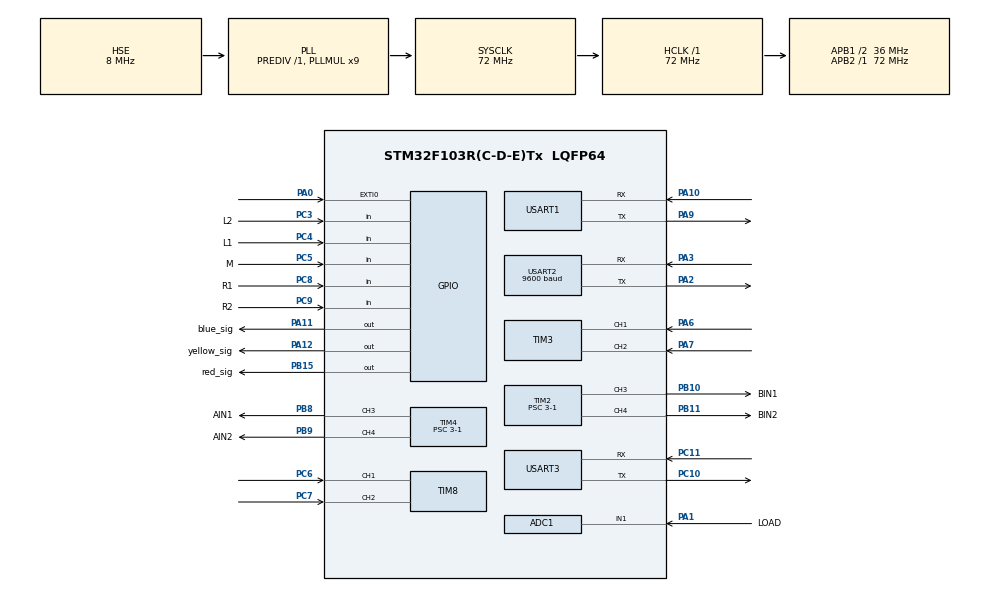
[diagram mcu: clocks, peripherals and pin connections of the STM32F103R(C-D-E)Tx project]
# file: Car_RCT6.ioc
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ADC1.Channel-1\#ChannelRegularConversion=ADC_CHANNEL_1
ADC1.NbrOfConversionFlag=1
ADC1.Rank-1\#ChannelRegularConversion=1
ADC1.SamplingTime-1\#ChannelRegularConversion=ADC_SAMPLETIME_1CYCLE_5
ADC1.master=1
Mcu.Family=STM32F1
Mcu.Name=STM32F103R(C-D-E)Tx
Mcu.Package=LQFP64
NVIC.EXTI0_IRQn=true\:3\:3\:true\:false\:true\:true\:true\:true
NVIC.PriorityGroup=NVIC_PRIORITYGROUP_2
NVIC.TIM6_IRQn=true\:3\:0\:true\:false\:true\:true\:true\:true
NVIC.TIM7_IRQn=true\:1\:0\:true\:false\:true\:true\:true\:true
NVIC.USART1_IRQn=true\:3\:1\:true\:false\:true\:true\:true\:true
NVIC.USART2_IRQn=true\:3\:2\:true\:false\:true\:true\:true\:true
NVIC.USART3_IRQn=true\:2\:0\:true\:false\:true\:true\:true\:true
PA0-WKUP.GPIO_ModeDefaultEXTI=GPIO_MODE_IT_FALLING
PA0-WKUP.GPIO_PuPd=GPIO_PULLUP
PA0-WKUP.Signal=GPXTI0
PA1.GPIO_Label=LOAD
PA1.Signal=ADCx_IN1
PA10.Mode=Asynchronous
PA10.Signal=USART1_RX
PA11.GPIO_Label=blue_sig
PA11.GPIO_ModeDefaultOutputPP=GPIO_MODE_OUTPUT_PP
PA11.GPIO_PuPd=GPIO_PULLDOWN
PA11.GPIO_Speed=GPIO_SPEED_FREQ_MEDIUM
PA11.Signal=GPIO_Output
PA12.GPIO_Label=yellow_sig
PA12.GPIO_ModeDefaultOutputPP=GPIO_MODE_OUTPUT_PP
PA12.GPIO_PuPd=GPIO_PULLDOWN
PA12.GPIO_Speed=GPIO_SPEED_FREQ_MEDIUM
PA12.Signal=GPIO_Output
PA13.Mode=Serial_Wire
PA13.Signal=SYS_JTMS-SWDIO
PA14.Mode=Serial_Wire
PA14.Signal=SYS_JTCK-SWCLK
PA2.Mode=Asynchronous
PA2.Signal=USART2_TX
PA3.Mode=Asynchronous
PA3.Signal=USART2_RX
PA6.GPIO_PuPd=GPIO_NOPULL
PA6.Signal=S_TIM3_CH1
PA7.GPIO_PuPd=GPIO_NOPULL
PA7.Signal=S_TIM3_CH2
PA9.Mode=Asynchronous
PA9.Signal=USART1_TX
PB10.GPIO_Label=BIN1
PB10.Signal=S_TIM2_CH3
PB11.GPIO_Label=BIN2
PB11.Signal=S_TIM2_CH4
PB15.GPIO_Label=red_sig
PB15.GPIO_ModeDefaultOutputPP=GPIO_MODE_OUTPUT_PP
PB15.GPIO_PuPd=GPIO_PULLDOWN
PB15.GPIO_Speed=GPIO_SPEED_FREQ_MEDIUM
PB15.Signal=GPIO_Output
PB8.GPIO_Label=AIN1
PB8.Signal=S_TIM4_CH3
PB9.GPIO_Label=AIN2
PB9.Signal=S_TIM4_CH4
PC10.Mode=Asynchronous
PC10.Signal=USART3_TX
PC11.Mode=Asynchronous
PC11.Signal=USART3_RX
PC3.GPIO_Label=L2
PC3.GPIO_PuPd=GPIO_NOPULL
PC3.Signal=GPIO_Input
PC4.GPIO_Label=L1
PC4.GPIO_PuPd=GPIO_NOPULL
PC4.Signal=GPIO_Input
PC5.GPIO_Label=M
PC5.GPIO_PuPd=GPIO_NOPULL
PC5.Signal=GPIO_Input
PC6.GPIO_PuPd=GPIO_NOPULL
PC6.Signal=S_TIM8_CH1
PC7.GPIO_PuPd=GPIO_NOPULL
PC7.Signal=S_TIM8_CH2
PC8.GPIO_Label=R1
PC8.GPIO_PuPd=GPIO_NOPULL
PC8.Signal=GPIO_Input
PC9.GPIO_Label=R2
PC9.GPIO_PuPd=GPIO_NOPULL
PC9.Signal=GPIO_Input
PD0-OSC_IN.Mode=HSE-External-Oscillator
PD0-OSC_IN.Signal=RCC_OSC_IN
PD1-OSC_OUT.Mode=HSE-External-Oscillator
PD1-OSC_OUT.Signal=RCC_OSC_OUT
ProjectManager.HeapSize=0x200
ProjectManager.StackSize=0x400
ProjectManager.TargetToolchain=MDK-ARM V5
RCC.ADCPresc=RCC_ADCPCLK2_DIV6
RCC.AHBFreq_Value=72000000
RCC.APB1CLKDivider=RCC_HCLK_DIV2
RCC.APB1Freq_Value=36000000
RCC.APB1TimFreq_Value=72000000
RCC.APB2Freq_Value=72000000
RCC.APB2TimFreq_Value=72000000
RCC.HCLKFreq_Value=72000000
RCC.PLLMUL=RCC_PLL_MUL9
RCC.PLLSourceVirtual=RCC_PLLSOURCE_HSE
RCC.SYSCLKFreq_VALUE=72000000
RCC.SYSCLKSource=RCC_SYSCLKSOURCE_PLLCLK
RCC.USBFreq_Value=72000000
SH.ADCx_IN1.0=ADC1_IN1,IN1
SH.S_TIM2_CH3.0=TIM2_CH3,PWM Generation3 CH3
SH.S_TIM2_CH4.0=TIM2_CH4,PWM Generation4 CH4
SH.S_TIM3_CH1.0=TIM3_CH1,Encoder_Interface
SH.S_TIM3_CH2.0=TIM3_CH2,Encoder_Interface
SH.S_TIM4_CH3.0=TIM4_CH3,PWM Generation3 CH3
SH.S_TIM4_CH4.0=TIM4_CH4,PWM Generation4 CH4
SH.S_TIM8_CH1.0=TIM8_CH1,Encoder_Interface
SH.S_TIM8_CH2.0=TIM8_CH2,Encoder_Interface
TIM2.AutoReloadPreload=TIM_AUTORELOAD_PRELOAD_ENABLE
TIM2.Channel-PWM\ Generation3\ CH3=TIM_CHANNEL_3
TIM2.Channel-PWM\ Generation4\ CH4=TIM_CHANNEL_4
TIM2.Period=1000-1
TIM2.Prescaler=3-1
TIM3.EncoderMode=TIM_ENCODERMODE_TI12
TIM3.IC1Filter=4
TIM3.IC1Polarity=TIM_ICPOLARITY_RISING
TIM3.IC1Prescaler=TIM_ICPSC_DIV1
TIM3.IC2Filter=4
TIM3.IC2Polarity=TIM_ICPOLARITY_RISING
TIM3.IC2Prescaler=TIM_ICPSC_DIV1
TIM4.AutoReloadPreload=TIM_AUTORELOAD_PRELOAD_ENABLE
TIM4.Channel-PWM\ Generation3\ CH3=TIM_CHANNEL_3
TIM4.Channel-PWM\ Generation4\ CH4=TIM_CHANNEL_4
TIM4.Period=1000-1
TIM4.Prescaler=3-1
TIM6.Period=5000-1
TIM6.Prescaler=7200-1
TIM7.Period=200-1
TIM7.Prescaler=7200-1
TIM8.EncoderMode=TIM_ENCODERMODE_TI12
TIM8.IC1Filter=4
TIM8.IC1Prescaler=TIM_ICPSC_DIV1
TIM8.IC2Filter=4
TIM8.IC2Prescaler=TIM_ICPSC_DIV1
USART1.VirtualMode=VM_ASYNC
USART2.BaudRate=9600
USART2.VirtualMode=VM_ASYNC
USART3.VirtualMode=VM_ASYNC
VP_TIM6_VS_ClockSourceINT.Mode=Enable_Timer
VP_TIM7_VS_ClockSourceINT.Mode=Enable_Timer
board=custom

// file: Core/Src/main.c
/* USER CODE BEGIN Header */
/**
  ******************************************************************************
  * @file           : main.c
  * @brief          : Main program body
  ******************************************************************************
  * @attention
  *
  * <h2><center>&copy; Copyright (c) 2021 STMicroelectronics.
  * All rights reserved.</center></h2>
  *
  * This software component is licensed by ST under BSD 3-Clause license,
  * the "License"; You may not use this file except in compliance with the
  * License. You may obtain a copy of the License at:
  *                        opensource.org/licenses/BSD-3-Clause
  *
  ******************************************************************************
  */
/* USER CODE END Header */
#include "main.h"
#include "adc.h"
#include "tim.h"
#include "usart.h"
#include "gpio.h"

/* USER CODE BEGIN Includes */
#include "oled.h"
#include "bsp_key.h"
#include "bsp_sys.h"
#include "bsp_delay.h"
#include "control.h"
#include "bsp_led.h"
#include "menu.h"
#include "Fire_protocol.h"

#include "bsp_pid.h"
#include "openmv.h"
#include "bsp_GraySensor.h"

#include "bsp_BlueTooth.h"

/* USER CODE END Includes */

/* USER CODE BEGIN PV */

u8 Do_count = 0, Do2_count = 0;

u16 showOLEDTime = 0;
u16 SendTime = 0;

extern unsigned char BMP3[];
extern unsigned char BMP4[];

/* USER CODE END PV */

void SystemClock_Config(void);

int main(void)
{
  /* USER CODE BEGIN 1 */
	/*视频教程链接 https://www.bilibili.com/video/BV1UL411V7XK?p=2&share_source=copy_web   昵称：海喂喂喂*/

  /* USER CODE END 1 */

  /* MCU Configuration--------------------------------------------------------*/

  /* Reset of all peripherals, Initializes the Flash interface and the Systick. */
  HAL_Init();

  /* USER CODE BEGIN Init */
	LED_Init();
	KEY_GPIO_Init();

  /* USER CODE END Init */

  /* Configure the system clock */
  SystemClock_Config();

  /* USER CODE BEGIN SysInit */
	delay_init(72);

  /* USER CODE END SysInit */

  /* Initialize all configured peripherals */
  MX_GPIO_Init();
  MX_ADC1_Init();
  MX_TIM3_Init();
  MX_TIM4_Init();
  MX_TIM6_Init();
  MX_USART2_UART_Init();
  MX_USART3_UART_Init();
  MX_TIM7_Init();
  MX_TIM8_Init();
  MX_TIM2_Init();
  MX_USART1_UART_Init();
  /* USER CODE BEGIN 2 */

	HAL_TIM_Encoder_Start(&htim3, TIM_CHANNEL_ALL);   //开启TIM3的编码器接口模式
  HAL_TIM_Encoder_Start(&htim8, TIM_CHANNEL_ALL);   //开启TIM8的编码器接口模式

	HAL_TIM_PWM_Start(&htim2,TIM_CHANNEL_3);       //Motor 2
	HAL_TIM_PWM_Start(&htim2,TIM_CHANNEL_4);

	HAL_TIM_PWM_Start(&htim4,TIM_CHANNEL_3);     //Motor1
	HAL_TIM_PWM_Start(&htim4,TIM_CHANNEL_4);

	delay_ms(100);    //延时一下，让OLED正常输出
	OLED_Init();
	delay_ms(100);    //延时一下，让OLED正常输出

  OLED_Clear(); //因为是直接进来的，所以清除一下比较好

	PID_param_init();

  set_motor2_enable();    //上位机调试pid时才需要手动使能电机的PWM输出
	set_motor_enable();

	 HAL_TIM_Base_Start_IT(&htim7);
	 HAL_TIM_Base_Start_IT(&htim6);

	 HAL_UART_Receive_IT(&huart3,&uart3_rxbuff,1);  //openmv通信串口

	 HAL_UART_Receive_IT(&huart2,&uart2_rxbuff,1);  //蓝牙通信串口

	 __HAL_UART_ENABLE_IT(&huart1,UART_IT_RXNE);    //串口1接收中断，只开启接收中断，与上位机通信

		protocol_init();       //这个初始化了才能通过上位机控制呀, 再看这个注意事项

	 __HAL_GPIO_EXTI_CLEAR_IT(GPIO_PIN_0);

  /* USER CODE END 2 */

  /* Infinite loop */
  /* USER CODE BEGIN WHILE */
  while (1)
  {
		receiving_process();   //解析野火上位机通信协议,调试电机位置速度串级PID时用

		if(SendTime >= 21)
		{
			SendTime = 0;

			SendDataToOpenmv();   //不能太快，否则会超过openmv的接收数据缓冲区

		}

		if(showOLEDTime >= 200)
		{
			showOLEDTime = 0;
			OLED_Display(Menu_Item);

//			if(OneLoadFlag == 1)
//			{
//				BlueSignal_Toggle;
//			}
			//printf("123");

			/****判断是否有放药品******/
			LoadOrNot();
		}

	  /**************等待识别病房号**************/
		if(TASK == 1)
		{
			SetTargetRoom();

		}

		else if(TASK == 2)
	  {
			 //加上发送给openmv 的数据
				if(Load_flag == 1)    //运送药物
				{
						//近端病房，靠openmv规划	， 用来测试二车性能
						if(TargetRoom == 'A')
						{
							switch(Do_count)
							{
								case 0:
									 Do_count++;
									 Car_go(60-5+15+HeadToWheelCM);   //此时 Stop_Flag ==0  完成后自动置1        //近端病房不预留openmv识别的位置

								break;

								case 1:
									 if(Stop_Flag ==1)          //直行、转弯函数交替使用时，可以不手动将标志位清零
									 {
										 Do_count++;
										 spin_Turn(left_90);   //此时Spin_succeed_flag== 0 ,完成后自动置1
									 }
								break;

								case 2:
									 if(Spin_succeed_flag == 1)
									 {
										 Do_count++;
										 Car_go(40-5+15-HeadToWheelCM +3);      //Stop_Flag再次置1   +3是为了进停车区
									 }
								break;

								case	3:
									if(Stop_Flag ==1)
									{
										RedSignal_on;

											//点亮红色指示灯

									}
								break;
							}
						}

						else if(TargetRoom == 'B')
						{
							switch(Do_count)
							{
								case 0:
									 Do_count++;

										Car_go(60-5+15+HeadToWheelCM);  //此时 Stop_Flag ==0  完成后自动置1        //近端病房不预留openmv识别的位置

								break;

								case 1:
									 if(Stop_Flag ==1)
									 {
										 Do_count++;
										 spin_Turn(right_90);   //此时Spin_succeed_flag== 0 ,完成后自动置1
									 }
								break;

								case 2:
									 if(Spin_succeed_flag == 1)
									 {
										 Do_count++;
										 Car_go(40-5+15-HeadToWheelCM +3);        //Stop_Flag再次置1   +3是为了进停车区
									 }
								break;

								case	3:
									if(Stop_Flag ==1)
									{

										RedSignal_on;
											//点亮红色指示灯

									}
								break;
							}
						}

						if(OneLoadFlag == 1)
						{
								//去中端送药，靠一车等待目标房号来确定，不用返回
							if(OneTargetRoom == 'C')
							{
								 switch(Do_count)
								 {
										case 0:
											 Do_count++;
											 Car_go(160+HeadToWheelCM);    //此时 Stop_Flag ==0  完成后自动置1        //近端病房不预留openmv识别的位置

										break;

										case 1:
											 if(Stop_Flag ==1)
											 {
												 Do_count++;
												 spin_Turn(right_90 );   //此时Spin_succeed_flag== 0 ,完成后自动置1

											 }
										break;

										case 2:
											 if(Spin_succeed_flag == 1)   //这里躲入另外一个中端病房通道，  测试一下，看掉头效果好还是直接后退效果好
											 {
												 Do_count++;
												 Car_go(HideCM);        //Stop_Flag再次置1    //如果后退的话，巡线补偿的值需要相反

											 }
										break;

										case 3:
											if(Stop_Flag ==1)
											{

												YellowSignal_on; //等一车取药

											}
										break;

								 }
							}

							else if(OneTargetRoom == 'D' )
							{
								 switch(Do_count)
								 {
										case 0:
											 Do_count++;
											 Car_go(150-5+15+HeadToWheelCM);    //此时 Stop_Flag ==0  完成后自动置1        //近端病房不预留openmv识别的位置

										break;

										case 1:
											 if(Stop_Flag ==1)
											 {
												 Do_count++;
												 spin_Turn(left_90);   //此时Spin_succeed_flag== 0 ,完成后自动置1

											 }
										break;

										case 2:
											 if(Spin_succeed_flag == 1)   //这里躲入另外一个中端病房通道，  测试一下，看掉头效果好还是直接后退效果好
											 {
												 Do_count++;
												 Car_go(HideCM);        //Stop_Flag再次置1   //如果后退的话，巡线补偿的值需要相反

											 }
										break;

										case 3:
											if(Stop_Flag ==1)
											{

												YellowSignal_on;  //等一车取药

											}
										break;

								 }
							}
						}
				}

				else if(Load_flag == 2)       // 只在近端才返回,用来测试二车控制效果
				{
						if(TargetRoom == 'A')
						{
							switch(Do2_count)
							{
								case 0:
									Do2_count++;

									spin_Turn(back_180 );
									RedSignal_off; //关闭红色指示灯

								break;

								case 1:
									if(Spin_succeed_flag == 1)
									{
										Do2_count++;

										Car_go(40-5+15-HeadToWheelCM+3);   //此时 Stop_Flag ==0  完成后自动置1        //近端病房不预留openmv识别的位置
									}
								break;

								case 2:
									 if(Stop_Flag ==1)
									 {
										 Do2_count++;
										 spin_Turn(right_90 );   //此时Spin_succeed_flag== 0 ,完成后自动置1
									 }
								break;

								case 3:
									 if(Spin_succeed_flag == 1)
									 {

										 Do2_count++;
										 Car_go(60-5+15-HeadToWheelCM +3 );   //Stop_Flag再次置1

									 }
								break;

								case	4:
									if(Stop_Flag ==1)
									{

										GreenSignal_on; //点亮绿色指示灯

									}
								break;
							}

						}

						else if(TargetRoom == 'B')
						{
							switch(Do2_count)
							{
								case 0:
									Do2_count++;

									spin_Turn(back_180 );
									RedSignal_off; //关闭红色指示灯

								break;

								case 1:
									if(Spin_succeed_flag == 1)
									{
										Do2_count++;

										Car_go(40-5+15-HeadToWheelCM+3);     //此时 Stop_Flag ==0  完成后自动置1        //近端病房不预留openmv识别的位置
									}
								break;

								case 2:
									 if(Stop_Flag ==1)
									 {
										 Do2_count++;
										 spin_Turn(left_90 );   //此时Spin_succeed_flag== 0 ,完成后自动置1
									 }
								break;

								case 3:
									 if(Spin_succeed_flag == 1)
									 {

										 Do2_count++;
										 Car_go(60-5+15-HeadToWheelCM +3);    //Stop_Flag再次置1

									 }
								break;

								case	4:
									if(Stop_Flag ==1)
									{

										GreenSignal_on; //点亮绿色指示灯

									}
								break;
							}
						}
				}

			if(OneLoadFlag == 2)
			{

        if(OneTargetRoom == 'C' || OneTargetRoom == 'D')
				{
					switch(Do_count)
					{

						case 3:
							//来个延时的标志位
							 WaitFlag = 1;
						   YellowSignal_off;

							 if(WaitTimeCount >=  6000)  //延时6s
							 {
								 Do_count++;

								 WaitFlag = 0;
								 WaitTimeCount = 0;

								 spin_Turn(back_180);

						   }
					  break;

						case	4:
							if(Spin_succeed_flag ==  1)
							{
								 Do_count++;

								 Car_go(HideCM + 40-5+15-HeadToWheelCM +3);
							}
						break;

					  case 5:
							if(Stop_Flag == 1)
							{
								Do_count++;

								RedSignal_on;
							}

						break;
					}
				}

				//去远端取药，不用管是否装载药品，先在中端等一车过了再去远端。
			  if(OneTargetRoom == 'E' || OneTargetRoom == 'F'  ||  OneTargetRoom == 'G' ||OneTargetRoom == 'H' )   // 由一车发送的标志位控制二车启动
				{
					switch(Do_count)
					{
						 case 0:
							 Do_count++;
							 Car_go(150-5+15+HeadToWheelCM-2);    //此时 Stop_Flag ==0  完成后自动置1        //近端病房不预留openmv识别的位置

						 break;

						 case 1:
							 if(Stop_Flag ==1)
							 {
								 if(OneTargetRoom == 'E' || OneTargetRoom == 'F')
								 {
									 Do_count++;
									 spin_Turn(right_90);   //此时Spin_succeed_flag== 0 ,完成后自动置1
								 }

								 else if(OneTargetRoom == 'G' ||OneTargetRoom == 'H')
								 {
									 Do_count++;
									 spin_Turn(left_90);   //此时Spin_succeed_flag== 0 ,完成后自动置1
								 }

							 }
						 break;

						 case 2:
							 if(Spin_succeed_flag == 1)
							 {
									Do_count++;
									Car_go(HideCM);
							 }
						 break;

						 case 3:
							 if(Stop_Flag == 1)
							 {
									WaitFlag = 1;
								  Do_count++;
							 }
						 break;

						 case 4:
							 if(WaitTimeCount >= 3000 )  //等待3s
							{
								Do_count++;
								WaitTimeCount = 0;
								WaitFlag = 0;

								spin_Turn(back_180);
							}
             break;

						 case 5:
							 if(Spin_succeed_flag == 1)
							 {
								 Do_count++;
							   Car_go(HideCM );
							 }
						 break;

						 case	6:
							 if(Stop_Flag ==1)
							 {
								 if(OneTargetRoom == 'E' || OneTargetRoom == 'F')
								 {
									 Do_count++;
									 spin_Turn(right_90 );   //此时Spin_succeed_flag== 0 ,完成后自动置1
								 }

								 else if(OneTargetRoom == 'G' ||OneTargetRoom == 'H')
								 {
									 Do_count++;
									 spin_Turn(left_90 );   //此时Spin_succeed_flag== 0 ,完成后自动置1
								 }

							 }
						 break;

						 case	7:
							 if(Spin_succeed_flag == 1)
							 {
									Do_count++;
									Car_go(90- (LookCM + HeadToWheelCM) );
							 }
						 break;

						 case	8:
							 if(Stop_Flag == 1 )
							 {
									FindStartFlag = 1;

									if(FindTimeCount < 500)    //一定时间内识别到RoomNum, 且其位置偏左     三个条件都要满足：时间、识别成功标志位、位置
									{
										if(RoomNum == TargetNum && LoR == 1)
										{
											 Do_count++;
											 TargetRoom = 'E';      //先假定是E
											 Car_go(LookCM+HeadToWheelCM);      //补回给openmv识别预留的位置，同时让车轮压线，以便后续转弯

											//停止计时,并清零
											 FindTimeCount = 0;
											 FindStartFlag = 0;
										}
										else if(RoomNum == TargetNum && LoR == 2 )  	//识别到目标数字, 且其位置偏右
										{
											 Do_count++;
											 TargetRoom = 'G';    //先假定是G
											 Car_go(LookCM + HeadToWheelCM);      //补回给openmv识别预留的位置，同时让车轮压线，以便后续转弯

											//停止计时,并清零
												 FindTimeCount = 0;
												 FindStartFlag = 0;
										}

									}

									else if(FindTimeCount >= 500)   //仍然超时并未识别到，则保留初始化是赋予的'E'
									{
										 Do_count++;
										 Car_go(LookCM + HeadToWheelCM);      //补回给openmv识别预留的位置，同时让车轮压线，以便后续转弯

											//停止计时,并清零
										 FindTimeCount = 0;
										 FindStartFlag = 0;
									}

								}
						 break;

						 case	9:
								if(Stop_Flag == 1)
								{
									Do_count++;
									if(TargetRoom == 'E')
									{
										spin_Turn(left_90);
									}
									else if(TargetRoom == 'G')
									{
										spin_Turn(right_90);
									}
								}
						 break;

						 case 10:
								if(Spin_succeed_flag == 1)
								{
									Do_count++;
									Car_go(90 -HeadToWheelCM -LookCM);
								}
						 break;

						 case 11:
								if(Stop_Flag == 1)
								{
									FindStartFlag = 1;
									if(FindTimeCount < 500)
									{
										if(TargetRoom == 'E')
										{
												if(RoomNum == TargetNum && LoR == 1)    //识别到RoomNum, 且其位置偏左
											 {
												 Do_count ++;
												 TargetRoom = 'E';
												 Car_go(LookCM+HeadToWheelCM);      //补回给openmv识别预留的位置，同时让车轮压线，以便后续转弯

												 FindStartFlag = 0;
												 FindTimeCount =0;
											 }

											 else if(RoomNum == TargetNum && LoR == 2)   //一定时间内识别到RoomNum, 且其位置偏右
											 {
												 Do_count++;
												 TargetRoom = 'F';
												 Car_go(LookCM + HeadToWheelCM);

												 FindStartFlag = 0;
												 FindTimeCount =0;
											 }
										}

										else if(TargetRoom == 'G')
										{
												if(RoomNum == TargetNum && LoR == 1)    //一定时间内识别到RoomNum, 且其位置偏左
											 {
												 Do_count++;
												 TargetRoom = 'G';
												 Car_go(LookCM+HeadToWheelCM);

												 FindStartFlag = 0;
												 FindTimeCount =0;
											 }

											 else if(RoomNum == TargetNum && LoR == 2)   //一定时间内识别到RoomNum, 且其位置偏右
											 {
												 Do_count++;
												 TargetRoom = 'H';
												 Car_go(LookCM + HeadToWheelCM);

												 FindStartFlag = 0;
												 FindTimeCount =0;
											 }
										}
									}

									else if(FindTimeCount >= 500)
									{
										Do_count++;
										Car_go(LookCM + HeadToWheelCM);

										FindStartFlag=0;
										FindTimeCount=0;
									}

								}
						 break;

						 case 12:
								if(Stop_Flag == 1)
								{
									Do_count++;
									if( TargetRoom == 'E' || TargetRoom == 'G')
									{
										spin_Turn(left_90);
									}
									else if( TargetRoom == 'F' || TargetRoom == 'H')
									{
										spin_Turn(right_90);
									}
								}
						 break;

						 case 13:
								if(Spin_succeed_flag == 1)
								{
									Do_count++;
									Car_go(40-5+15-HeadToWheelCM +3);
								}
						 break;

						 case 14:
								if(Stop_Flag == 1)
									{

										RedSignal_on;
										 //点亮红色指示灯
									}
						 break;

					}
				}

			}
		}

    /* USER CODE END WHILE */

  }
}

void SystemClock_Config(void)
{
  RCC_OscInitTypeDef RCC_OscInitStruct = {0};
  RCC_ClkInitTypeDef RCC_ClkInitStruct = {0};
  RCC_PeriphCLKInitTypeDef PeriphClkInit = {0};

  /** Initializes the RCC Oscillators according to the specified parameters
  * in the RCC_OscInitTypeDef structure.
  */
  RCC_OscInitStruct.OscillatorType = RCC_OSCILLATORTYPE_HSE;
  RCC_OscInitStruct.HSEState = RCC_HSE_ON;
  RCC_OscInitStruct.HSEPredivValue = RCC_HSE_PREDIV_DIV1;
  RCC_OscInitStruct.HSIState = RCC_HSI_ON;
  RCC_OscInitStruct.PLL.PLLState = RCC_PLL_ON;
  RCC_OscInitStruct.PLL.PLLSource = RCC_PLLSOURCE_HSE;
  RCC_OscInitStruct.PLL.PLLMUL = RCC_PLL_MUL9;
  if (HAL_RCC_OscConfig(&RCC_OscInitStruct) != HAL_OK)
  {
    Error_Handler();
  }

  /** Initializes the CPU, AHB and APB buses clocks
  */
  RCC_ClkInitStruct.ClockType = RCC_CLOCKTYPE_HCLK|RCC_CLOCKTYPE_SYSCLK
                              |RCC_CLOCKTYPE_PCLK1|RCC_CLOCKTYPE_PCLK2;
  RCC_ClkInitStruct.SYSCLKSource = RCC_SYSCLKSOURCE_PLLCLK;
  RCC_ClkInitStruct.AHBCLKDivider = RCC_SYSCLK_DIV1;
  RCC_ClkInitStruct.APB1CLKDivider = RCC_HCLK_DIV2;
  RCC_ClkInitStruct.APB2CLKDivider = RCC_HCLK_DIV1;

  if (HAL_RCC_ClockConfig(&RCC_ClkInitStruct, FLASH_LATENCY_2) != HAL_OK)
  {
    Error_Handler();
  }
  PeriphClkInit.PeriphClockSelection = RCC_PERIPHCLK_ADC;
  PeriphClkInit.AdcClockSelection = RCC_ADCPCLK2_DIV6;
  if (HAL_RCCEx_PeriphCLKConfig(&PeriphClkInit) != HAL_OK)
  {
    Error_Handler();
  }
}

void Error_Handler(void)
{
  __disable_irq();
  while (1)
  {
  }
}
